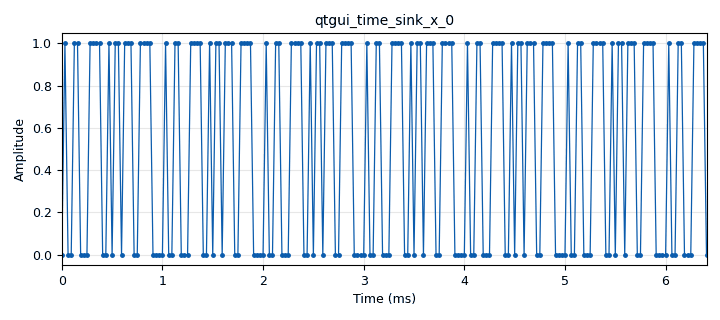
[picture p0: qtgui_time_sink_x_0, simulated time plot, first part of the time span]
<?xml version='1.0' encoding='utf-8'?>
<?grc format='1' created='3.7.11'?>
<flow_graph>
<block>
<key>options</key>
<param><key>id</key><value>top_block</value></param>
<param><key>generate_options</key><value>qt_gui</value></param>
</block>
<block>
<key>variable</key>
<param><key>id</key><value>samp_rate</value></param>
<param><key>value</key><value>32e3</value></param>
</block>
<block>
<key>variable_tag_object</key>
<param><key>id</key><value>tag_L</value></param>
<param><key>key</key><value>pmt.intern("L")</value></param>
<param><key>offset</key><value>0</value></param>
<param><key>src</key><value>pmt.intern("Vsrc")</value></param>
<param><key>value</key><value>pmt.intern("0x4C")</value></param>
</block>
<block>
<key>blocks_file_sink</key>
<param><key>id</key><value>blocks_file_sink_0</value></param>
<param><key>file</key><value>/home/diane/repos/sdrgnuradio/vector_source/vsource.bin</value></param>
<param><key>type</key><value>byte</value></param>
</block>
<block>
<key>blocks_packed_to_unpacked_xx</key>
<param><key>id</key><value>blocks_packed_to_unpacked_xx_0</value></param>
<param><key>bits_per_chunk</key><value>1</value></param>
<param><key>endianness</key><value>gr.GR_MSB_FIRST</value></param>
<param><key>type</key><value>byte</value></param>
</block>
<block>
<key>blocks_throttle</key>
<param><key>id</key><value>blocks_throttle_0</value></param>
<param><key>samples_per_second</key><value>samp_rate</value></param>
<param><key>type</key><value>byte</value></param>
</block>
<block>
<key>blocks_uchar_to_float</key>
<param><key>id</key><value>blocks_uchar_to_float_0</value></param>
</block>
<block>
<key>blocks_vector_source_x</key>
<param><key>id</key><value>blocks_vector_source_x_0</value></param>
<param><key>type</key><value>byte</value></param>
<param><key>repeat</key><value>True</value></param>
<param><key>tags</key><value>[tag_L]</value></param>
<param><key>vector</key><value>list(ord(i) for i in 'Lynx')</value></param>
</block>
<block>
<key>note</key>
<param><key>id</key><value>note_0</value></param>
<param><key>comment</key><value>The vector source output is a packed byte. To see
the individual bits in the time sink, the byte is
unpacked into bits.</value></param>
<param><key>note</key><value>Why packed to unpacked?</value></param>
</block>
<block>
<key>note</key>
<param><key>id</key><value>note_1</value></param>
<param><key>comment</key><value>Time sink cannot handle data type uchar, must
convert to float for plotting</value></param>
<param><key>note</key><value>Why uchar to float?</value></param>
</block>
<block>
<key>qtgui_time_sink_x</key>
<param><key>id</key><value>qtgui_time_sink_x_0</value></param>
<param><key>autoscale</key><value>True</value></param>
<param><key>ctrlpanel</key><value>True</value></param>
<param><key>color1</key><value>"blue"</value></param>
<param><key>label1</key><value></value></param>
<param><key>marker1</key><value>0</value></param>
<param><key>size</key><value>1024</value></param>
<param><key>srate</key><value>samp_rate</value></param>
<param><key>type</key><value>float</value></param>
</block>
<connection><source_block_id>blocks_packed_to_unpacked_xx_0</source_block_id><sink_block_id>blocks_throttle_0</sink_block_id><source_key>0</source_key><sink_key>0</sink_key></connection>
<connection><source_block_id>blocks_throttle_0</source_block_id><sink_block_id>blocks_uchar_to_float_0</sink_block_id><source_key>0</source_key><sink_key>0</sink_key></connection>
<connection><source_block_id>blocks_uchar_to_float_0</source_block_id><sink_block_id>qtgui_time_sink_x_0</sink_block_id><source_key>0</source_key><sink_key>0</sink_key></connection>
<connection><source_block_id>blocks_vector_source_x_0</source_block_id><sink_block_id>blocks_file_sink_0</sink_block_id><source_key>0</source_key><sink_key>0</sink_key></connection>
<connection><source_block_id>blocks_vector_source_x_0</source_block_id><sink_block_id>blocks_packed_to_unpacked_xx_0</sink_block_id><source_key>0</source_key><sink_key>0</sink_key></connection>
</flow_graph>
